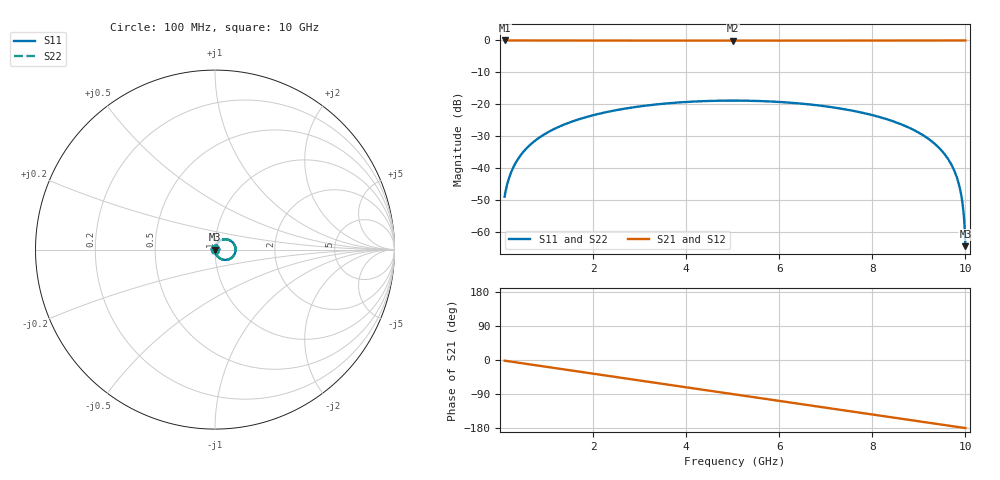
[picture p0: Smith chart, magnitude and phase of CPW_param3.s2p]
! Sonnet Data File
! From: em Version : 19.52.2025
! From Project: CPW
! Data is De-embedded
! Data File Written: 02/24/2026 12:47:39
!< HDATE 02/24/2026 12:38:38
!< MDATE 02/24/2026 12:38:38
!< PARAMS
!< Lk = 0.4
!< END PARAMS
# GHZ S MA R 50.00000
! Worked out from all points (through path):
!   4951 points, 100 MHz to 10 GHz, reference 50 ohm
!   highest |S21| = 0.00 dB at 100 MHz (marker M1); lowest = -0.1 dB at 5.014 GHz (marker M2)
!   group delay of S21, straight-line fit = 49.8 ps
!   lowest |S11| = -64.3 dB at 10 GHz (marker M3), VSWR 1.00, Z = 50 - j0.0609 ohm
!   |S11| at or under -10 dB: start of sweep to end of sweep
!   |S22| runs from -64.3 to -18.8 dB; largest |S21 - S12| = 8.9e-13
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0.1  0.003627 88.2  1 -1.8  1 -1.8  0.003627 88.2
0.206  0.00747 86.3  1 -3.7  1 -3.7  0.00747 86.3
0.3  0.01087 84.6  0.9999 -5.4  0.9999 -5.4  0.01087 84.6
0.604  0.02179 79.1  0.9998 -10.9  0.9998 -10.9  0.02179 79.1
1.08  0.03842 70.5  0.9992 -19.5  0.9992 -19.5  0.03842 70.5
1.75  0.06026 58.4  0.9982 -31.6  0.9982 -31.6  0.06026 58.4
2.504  0.08154 44.8  0.9966 -45.2  0.9966 -45.2  0.08154 44.8
3.4  0.1008 28.8  0.9949 -61.3  0.9949 -61.3  0.1008 28.7
4.214  0.1114 14.2  0.9937 -75.8  0.9937 -75.8  0.1114 14.2
5.014  0.1148 -0.1  0.9933 -90.1  0.9933 -90.1  0.1148 -0.1
5.05  0.1148 -0.7  0.9933 -90.8  0.9933 -90.8  0.1148 -0.7
5.868  0.1107 -15.4  0.9938 -105.4  0.9938 -105.4  0.1107 -15.3
6.7  0.09917 -30.2  0.995 -120.3  0.995 -120.3  0.09916 -30.2
7.6  0.07916 -46.4  0.9968 -136.4  0.9968 -136.4  0.07915 -46.4
8.35  0.05754 -59.9  0.9982 -149.9  0.9982 -149.9  0.05754 -59.9
9.126  0.0318 -73.9  0.9994 -163.9  0.9994 -163.9  0.0318 -73.9
9.404  0.02202 -78.9  0.9996 -168.9  0.9996 -168.9  0.02203 -78.9
9.618  0.01438 -82.7  0.9998 -172.8  0.9998 -172.8  0.01439 -82.7
9.766  0.009059 -85.4  0.9998 -175.5  0.9998 -175.5  0.009063 -85.4
9.872  0.005234 -87.2  0.9998 -177.4  0.9998 -177.4  0.005236 -87.2
9.932  0.003066 -88.1  0.9999 -178.5  0.9999 -178.5  0.003068 -88.2
10  0.0006091 -87.7  0.9999 -179.7  0.9999 -179.7  0.0006089 -88.5
